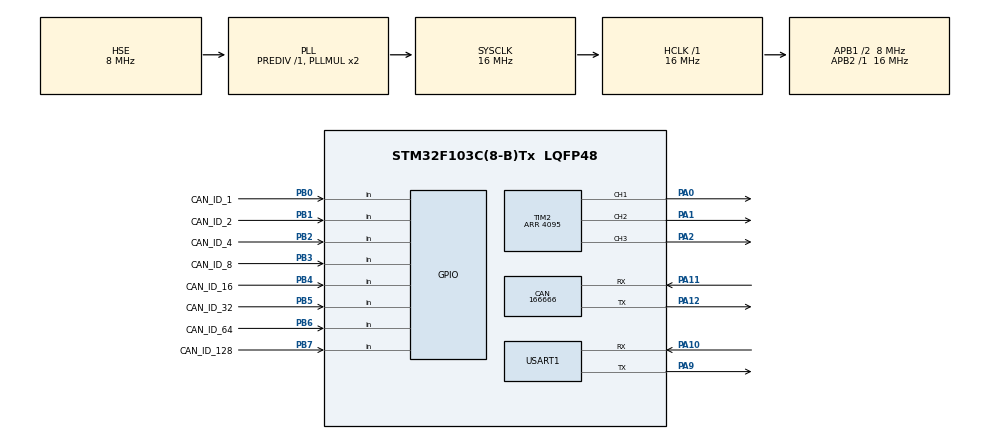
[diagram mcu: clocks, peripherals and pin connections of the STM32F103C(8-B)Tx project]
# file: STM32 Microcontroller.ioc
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Mcu.Family=STM32F1
VP_TIM3_VS_OPM.Mode=OPM_bit
VP_TIM4_VS_OPM.Mode=OPM_bit
PA2.GPIO_Speed=GPIO_SPEED_FREQ_HIGH
VP_RTC_VS_RTC_Activate.Mode=RTC_Enabled
PA11.Mode=CAN_Activate
PB0.GPIO_Label=CAN_ID_1
PB6.GPIO_Label=CAN_ID_64
NVIC.TIM1_UP_IRQn=true\:0\:0\:false\:false\:true\:false\:true
PA11.GPIO_PuPd=GPIO_PULLDOWN
TIM2.Channel-PWM\ Generation2\ CH2=TIM_CHANNEL_2
RCC.SYSCLKSource=RCC_SYSCLKSOURCE_PLLCLK
ProjectManager.StackSize=0x400
PD1-OSC_OUT.Signal=RCC_OSC_OUT
PA12.Signal=CAN_TX
PB1.GPIO_PuPd=GPIO_PULLDOWN
RCC.HCLKFreq_Value=16000000
RCC.APB2TimFreq_Value=16000000
TIM3.Period=4095
PB6.Signal=GPIO_Input
RCC.AHBFreq_Value=16000000
PB2.Signal=GPIO_Input
PB3.GPIO_PuPd=GPIO_PULLDOWN
VP_SYS_VS_tim1.Mode=TIM1
PB1.GPIO_Label=CAN_ID_2
PB7.Signal=GPIO_Input
TIM2.Channel-PWM\ Generation1\ CH1=TIM_CHANNEL_1
TIM4.Period=4095
CAN.CalculateTimeQuantum=2000.0
PB2.GPIO_PuPd=GPIO_PULLDOWN
PB7.GPIO_Label=CAN_ID_128
Mcu.Package=LQFP48
PB1.Signal=GPIO_Input
NVIC.TimeBase=TIM1_UP_IRQn
NVIC.TimeBaseIP=TIM1
PA10.Signal=USART1_RX
PB5.GPIO_Label=CAN_ID_32
RCC.APB1TimFreq_Value=16000000
PA12.GPIO_Speed=GPIO_SPEED_FREQ_HIGH
PB4.Signal=GPIO_Input
PB3.GPIO_Label=CAN_ID_8
PB7.GPIO_PuPd=GPIO_PULLDOWN
RCC.PLLSourceVirtual=RCC_PLLSOURCE_HSE
PD1-OSC_OUT.Mode=HSE-External-Oscillator
PA10.Mode=Asynchronous
CAN.CalculateBaudRate=166666
PB6.GPIO_PuPd=GPIO_PULLDOWN
PD0-OSC_IN.Signal=RCC_OSC_IN
RCC.APB1CLKDivider=RCC_HCLK_DIV2
VP_SYS_VS_ND.Mode=No_Debug
CAN.CalculateTimeBit=6000.00
PA0-WKUP.Signal=S_TIM2_CH1_ETR
PA13.Signal=SYS_JTMS-SWDIO
SH.S_TIM2_CH2.0=TIM2_CH2,PWM Generation2 CH2
PA9.Mode=Asynchronous
ProjectManager.TargetToolchain=Makefile
PA9.Signal=USART1_TX
PB4.GPIO_PuPd=GPIO_PULLDOWN
RCC.USBFreq_Value=16000000
PA1.Signal=S_TIM2_CH2
PD0-OSC_IN.Mode=HSE-External-Oscillator
board=custom
PA12.GPIO_Mode=GPIO_MODE_AF_PP
RCC.APB2Freq_Value=16000000
PB4.GPIO_Label=CAN_ID_16
VP_TIM2_VS_ClockSourceINT.Mode=Internal
SH.S_TIM2_CH3.0=TIM2_CH3,PWM Generation3 CH3
TIM2.Channel-PWM\ Generation3\ CH3=TIM_CHANNEL_3
RCC.RCC_MCOSource=RCC_MCO1SOURCE_PLLCLK
TIM2.Period=4095
Mcu.Name=STM32F103C(8-B)Tx
PA2.Signal=S_TIM2_CH3
PB3.Signal=GPIO_Input
RCC.SYSCLKFreq_VALUE=16000000
PB5.Signal=GPIO_Input
PA12.Mode=CAN_Activate
PB5.GPIO_PuPd=GPIO_PULLDOWN
USART1.VirtualMode=VM_ASYNC
PA11.Signal=CAN_RX
SH.S_TIM2_CH1_ETR.0=TIM2_CH1,PWM Generation1 CH1
PB2.GPIO_Label=CAN_ID_4
ProjectManager.HeapSize=0x200
VP_TIM4_VS_ClockSourceINT.Mode=Internal
NVIC.PriorityGroup=NVIC_PRIORITYGROUP_4
RCC.APB1Freq_Value=8000000
PB0.Signal=GPIO_Input
PB0.GPIO_PuPd=GPIO_PULLDOWN

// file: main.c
/* USER CODE BEGIN Header */
/**
  ******************************************************************************
  * @file           : main.c
  * @brief          : Main program body
  ******************************************************************************
  * @attention
  *
  * <h2><center>&copy; Copyright (c) 2021 STMicroelectronics.
  * All rights reserved.</center></h2>
  *
  * This software component is licensed by ST under BSD 3-Clause license,
  * the "License"; You may not use this file except in compliance with the
  * License. You may obtain a copy of the License at:
  *                        opensource.org/licenses/BSD-3-Clause
  *
  ******************************************************************************
  */
/* USER CODE END Header */
#include "main.h"
#include "can.h"
#include "rtc.h"
#include "tim.h"
#include "usart.h"
#include "gpio.h"

/* USER CODE BEGIN PV */
uint32_t red_channel_value;
uint32_t green_channel_value;
uint32_t blue_channel_value;
int self_can_id;
/* USER CODE END PV */

void SystemClock_Config(void);
/* USER CODE BEGIN PFP */

int can_id(void);

/* USER CODE END PFP */

/* USER CODE BEGIN 0 */
static uint8_t recv_data;

/* USER CODE END 0 */

int main(void)
{

  /* MCU Configuration--------------------------------------------------------*/

  /* Reset of all peripherals, Initializes the Flash interface and the Systick. */
  HAL_Init();

  /* Configure the system clock */
  SystemClock_Config();

  /* Initialize all configured peripherals */
  MX_GPIO_Init();
  MX_RTC_Init();
  MX_CAN_Init();
  MX_TIM2_Init();
  MX_USART1_UART_Init();
  MX_TIM3_Init();
  MX_TIM4_Init();
  /* USER CODE BEGIN 2 */

  CAN_FilterTypeDef can_filter; //defining the can filter type
  can_filter.FilterIdHigh = 0xFFFF; // define the filter identifcation number
  can_filter.FilterIdLow =0x000; // define the fileter identaificaiton number
  can_filter.FilterFIFOAssignment = CAN_FILTER_FIFO0;
  can_filter.FilterMaskIdHigh = 0xFFF;
  can_filter.FilterBank = 3;
  can_filter.FilterMode = 0x00000001U;
  can_filter.FilterScale = CAN_FILTERSCALE_32BIT;
  can_filter.SlaveStartFilterBank = 8;
  can_filter.FilterActivation = CAN_FILTER_ENABLE;
  can_filter.SlaveStartFilterBank = 8;
  HAL_CAN_ConfigFilter(&hcan, &can_filter); //Configures the CAN reception filter according to the specified parameters in the CAN_FilterInitStruct.
  HAL_CAN_Start(&hcan); // starts the CAN module
  // HAL_TIM_Base_Start(&htim2); //starts the TIM base generation in interrupt mode
  HAL_TIM_PWM_Start(&htim2, TIM_CHANNEL_1);
  HAL_TIM_PWM_Start(&htim2, TIM_CHANNEL_2);
  HAL_TIM_PWM_Start(&htim2, TIM_CHANNEL_3);
  htim2.Instance->CCR1 = 4095; //compare register 1. Contains the duration of the T-On period of the on-going pulse
  htim2.Instance->CCR2 = 4095; // compare register 2. Contains the duration of the t-on period of the on-going pulse
  htim2.Instance->CCR3 = 4095; // compare register 3. Contains the duration of the T- on period of teh on-going pulse
  uint8_t data[8]; //array to store the CAN frame message
  self_can_id = can_id();

  /* USER CODE END 2 */

  /* Infinite loop */
  /* USER CODE BEGIN WHILE */
uint8_t intensity = 0;

  while (1)
    {
    /* USER CODE END WHILE */

    /* USER CODE BEGIN 3 */
    htim2.Instance->CCR3 = 4095;
    htim2.Instance->CCR1 = 2048;
    HAL_Delay(1000);
    htim2.Instance->CCR1 = 4095;
    htim2.Instance->CCR2 = 2048;
    HAL_Delay(1000);
    htim2.Instance->CCR2 = 4095;
    htim2.Instance->CCR3 = 2048;
    HAL_Delay(1000);

    uint32_t can_frame = HAL_CAN_GetRxFifoFillLevel(&hcan, can_filter.FilterFIFOAssignment); //returns the Rx FIFO fill level

    if (can_frame > 0)
    {
    CAN_RxHeaderTypeDef pHeader;
    HAL_StatusTypeDef CAN_status = HAL_CAN_GetRxMessage(&hcan, can_filter.FilterFIFOAssignment, &pHeader, data); //Gets a CAN frame from the Rx FIFO zone into the message RAM.

    if(CAN_status == HAL_OK // checks to see if the hcan is not null
    && pHeader.RTR == CAN_RTR_DATA //Specifies the type of frame for the message that will be transmitted.
    && pHeader.StdId == (self_can_id = can_id()) )  //Specifies theh standard identifier
      {
            red_channel_value = data[0] << 8;
            red_channel_value |= data[1];
            green_channel_value = data[2] << 8;
            green_channel_value |= data[3];
            blue_channel_value = data[4] << 8;
            blue_channel_value |= data[5];
            htim2.Instance->CCR1 = red_channel_value; //compare register 1. Contains the duration of the T-On period of the on-going pulse
            htim2.Instance->CCR2 = green_channel_value; // compare register 2. Contains the duration of the t-on period of the on-going pulse
            htim2.Instance->CCR3 = blue_channel_value; // compare register 3. Contains the duration of the T- on period of teh on-going pulse
          }
    }
  }

  /* USER CODE END 3 */
}

void SystemClock_Config(void)
{
  RCC_OscInitTypeDef RCC_OscInitStruct = {0};
  RCC_ClkInitTypeDef RCC_ClkInitStruct = {0};
  RCC_PeriphCLKInitTypeDef PeriphClkInit = {0};

  /** Initializes the RCC Oscillators according to the specified parameters
  * in the RCC_OscInitTypeDef structure.
  */
  RCC_OscInitStruct.OscillatorType = RCC_OSCILLATORTYPE_LSI|RCC_OSCILLATORTYPE_HSE;
  RCC_OscInitStruct.HSEState = RCC_HSE_ON;
  RCC_OscInitStruct.HSEPredivValue = RCC_HSE_PREDIV_DIV1;
  RCC_OscInitStruct.HSIState = RCC_HSI_ON;
  RCC_OscInitStruct.LSIState = RCC_LSI_ON;
  RCC_OscInitStruct.PLL.PLLState = RCC_PLL_ON;
  RCC_OscInitStruct.PLL.PLLSource = RCC_PLLSOURCE_HSE;
  RCC_OscInitStruct.PLL.PLLMUL = RCC_PLL_MUL2;
  if (HAL_RCC_OscConfig(&RCC_OscInitStruct) != HAL_OK)
  {
    Error_Handler();
  }
  /** Initializes the CPU, AHB and APB buses clocks
  */
  RCC_ClkInitStruct.ClockType = RCC_CLOCKTYPE_HCLK|RCC_CLOCKTYPE_SYSCLK
                              |RCC_CLOCKTYPE_PCLK1|RCC_CLOCKTYPE_PCLK2;
  RCC_ClkInitStruct.SYSCLKSource = RCC_SYSCLKSOURCE_PLLCLK;
  RCC_ClkInitStruct.AHBCLKDivider = RCC_SYSCLK_DIV1;
  RCC_ClkInitStruct.APB1CLKDivider = RCC_HCLK_DIV2;
  RCC_ClkInitStruct.APB2CLKDivider = RCC_HCLK_DIV1;

  if (HAL_RCC_ClockConfig(&RCC_ClkInitStruct, FLASH_LATENCY_0) != HAL_OK)
  {
    Error_Handler();
  }
  PeriphClkInit.PeriphClockSelection = RCC_PERIPHCLK_RTC;
  PeriphClkInit.RTCClockSelection = RCC_RTCCLKSOURCE_LSI;
  if (HAL_RCCEx_PeriphCLKConfig(&PeriphClkInit) != HAL_OK)
  {
    Error_Handler();
  }
  HAL_RCC_MCOConfig(RCC_MCO, RCC_MCO1SOURCE_PLLCLK, RCC_MCODIV_1);
}

/* USER CODE BEGIN 4 */
int can_id(void)
{
 int retrieval = 0;
 if(HAL_GPIO_ReadPin(CAN_ID_1_GPIO_Port, CAN_ID_1_Pin) == 1){
  retrieval  += 1;
 }

 if(HAL_GPIO_ReadPin(CAN_ID_2_GPIO_Port, CAN_ID_2_Pin) == 1){
  retrieval  += 2;
 }

 if(HAL_GPIO_ReadPin(CAN_ID_4_GPIO_Port, CAN_ID_4_Pin) == 1){
  retrieval  += 4;
 }

 if(HAL_GPIO_ReadPin(CAN_ID_8_GPIO_Port, CAN_ID_8_Pin) == 1){
  retrieval  += 8;
 }

 if(HAL_GPIO_ReadPin(CAN_ID_16_GPIO_Port, CAN_ID_16_Pin) == 1){
  retrieval  += 16;
 }

 if(HAL_GPIO_ReadPin(CAN_ID_32_GPIO_Port, CAN_ID_32_Pin) == 1){
  retrieval  += 32;
 }

 if(HAL_GPIO_ReadPin(CAN_ID_64_GPIO_Port, CAN_ID_64_Pin) == 1){
  retrieval  += 64;
 }

 if(HAL_GPIO_ReadPin(CAN_ID_128_GPIO_Port, CAN_ID_128_Pin) == 1){
  retrieval  += 128;
 }

  return retrieval;
}

/* USER CODE END 4 */

 /**
  * @brief  Period elapsed callback in non blocking mode
  * @note   This function is called  when TIM1 interrupt took place, inside
  * HAL_TIM_IRQHandler(). It makes a direct call to HAL_IncTick() to increment
  * a global variable "uwTick" used as application time base.
  * @param  htim : TIM handle
  * @retval None
  */
void HAL_TIM_PeriodElapsedCallback(TIM_HandleTypeDef *htim)
{
  if (htim->Instance == TIM1) {
    HAL_IncTick();
  }
}

void Error_Handler(void)
{
  __disable_irq();
  while (1)
  {
  }
}

/************************ (C) COPYRIGHT STMicroelectronics *****END OF FILE****/
